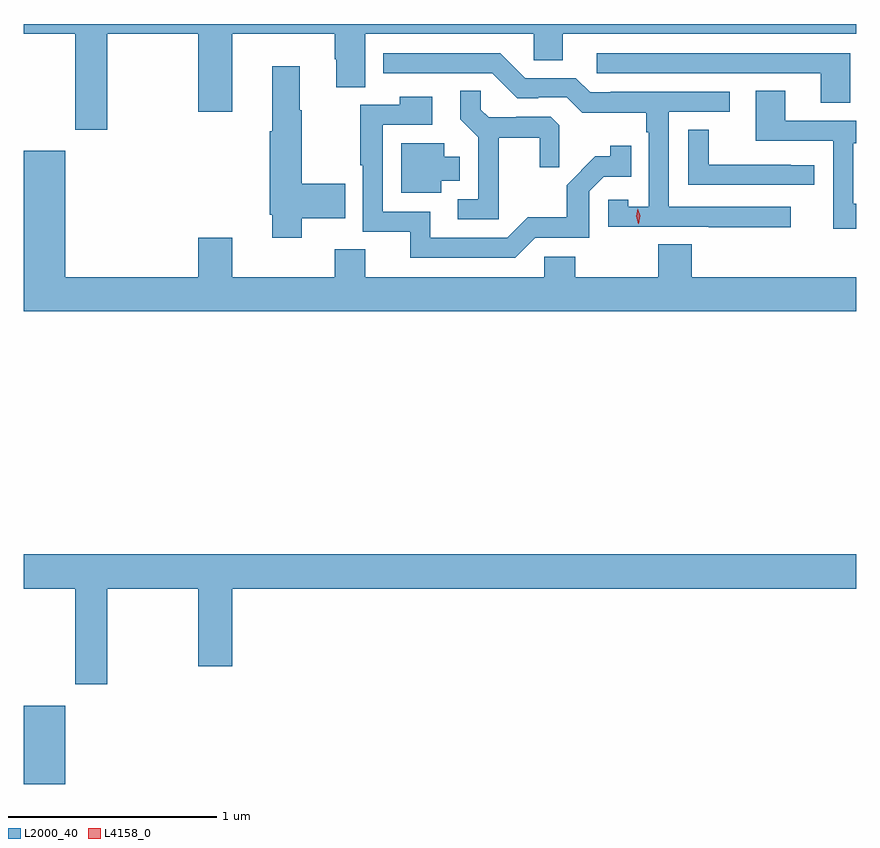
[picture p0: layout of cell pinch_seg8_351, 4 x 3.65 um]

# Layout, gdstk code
import gdstk
lib = gdstk.Library(unit=1e-6, precision=1e-09)
def R(c, l, rs):  # rectangles x0, y0, x1, y1
    for r in rs: c.add(gdstk.rectangle(r[:2], r[2:], *l))
def P(c, l, *ps):  # polygons
    for p in ps: c.add(gdstk.Polygon(p, *l))
L2000_40 = (2000, 40)
L4158_0 = (4158, 0)

pinch_seg8_351 = lib.new_cell('pinch_seg8_351')
R(pinch_seg8_351, L2000_40, [(367.965,1160.849,368.164,1161.226)])
P(pinch_seg8_351, L2000_40, [(368.367,1164.452),(368.804,1164.452),(368.804,1164.078),(368.968,1164.078),(368.968,1164.452),(369.46,1164.452),(369.46,1164.33),(369.467,1164.33),(369.467,1164.196),(369.607,1164.196),(369.607,1164.452),(370.416,1164.452),(370.416,1164.325),(370.555,1164.325),(370.555,1164.452),(371.965,1164.452),(371.965,1164.5),(367.965,1164.5),(367.965,1164.452),(368.212,1164.452),(368.212,1163.991),(368.367,1163.991)],
  [(371.935,1164.36),(370.719,1164.36),(370.719,1164.264),(371.795,1164.264),(371.795,1164.121),(371.935,1164.121)],
  [(371.65,1163.622),(371.064,1163.622),(371.064,1164.078),(371.356,1164.078),(371.356,1164.174),(370.786,1164.174),(370.786,1164.171),(370.686,1164.171),(370.617,1164.24),(370.374,1164.24),(370.254,1164.36),(369.692,1164.36),(369.692,1164.264),(370.215,1164.264),(370.335,1164.144),(370.436,1164.144),(370.436,1164.147),(370.575,1164.147),(370.648,1164.074),(370.956,1164.074),(370.956,1163.981),(370.968,1163.981),(370.968,1163.623),(370.869,1163.623),(370.869,1163.655),(370.773,1163.655),(370.773,1163.526),(371.257,1163.526),(371.257,1163.524),(371.65,1163.524)],
  [(369.3,1163.567),(369.509,1163.567),(369.509,1163.733),(369.3,1163.733),(369.3,1164.085),(369.292,1164.085),(369.292,1164.298),(369.158,1164.298),(369.158,1163.985),(369.146,1163.985),(369.146,1163.584),(369.158,1163.584),(369.158,1163.472),(369.3,1163.472)],
  [(371.965,1163.637),(371.95,1163.637),(371.95,1163.928),(371.965,1163.928),(371.965,1164.036),(371.623,1164.036),(371.623,1164.179),(371.483,1164.179),(371.483,1163.94),(371.853,1163.94),(371.853,1163.517),(371.965,1163.517)],
  [(370.247,1163.954),(370.444,1163.954),(370.444,1163.811),(370.538,1163.811),(370.538,1164.013),(370.497,1164.054),(370.332,1164.054),(370.332,1164.051),(370.198,1164.051),(370.161,1164.088),(370.161,1164.179),(370.063,1164.179),(370.063,1164.043),(370.149,1163.957),(370.149,1163.658),(370.05,1163.658),(370.05,1163.562),(370.247,1163.562)],
  [(370.422,1163.472),(370.683,1163.472),(370.683,1163.697),(370.752,1163.766),(370.883,1163.766),(370.883,1163.914),(370.782,1163.914),(370.782,1163.864),(370.712,1163.864),(370.575,1163.726),(370.575,1163.571),(370.386,1163.571),(370.287,1163.472),(369.919,1163.472),(369.919,1163.598),(369.69,1163.598),(369.69,1164.015),(369.928,1164.015),(369.928,1164.151),(369.772,1164.151),(369.772,1164.111),(369.582,1164.111),(369.582,1163.821),(369.594,1163.821),(369.594,1163.502),(369.821,1163.502),(369.821,1163.376),(370.326,1163.376)],
  [(371.764,1163.822),(371.651,1163.822),(371.651,1163.823),(371.256,1163.823),(371.256,1163.993),(371.157,1163.993),(371.157,1163.727),(371.764,1163.727)],
  [(369.97,1163.747),(370.06,1163.747),(370.06,1163.863),(369.985,1163.863),(369.985,1163.926),(369.779,1163.926),(369.779,1163.69),(369.97,1163.69)],
  [(369.46,1163.417),(369.46,1163.284),(368.968,1163.284),(368.968,1163.473),(368.804,1163.473),(368.804,1163.284),(368.164,1163.284),(368.164,1163.89),(367.965,1163.89),(367.965,1163.12),(371.965,1163.12),(371.965,1163.284),(371.174,1163.284),(371.174,1163.441),(371.014,1163.441),(371.014,1163.284),(370.614,1163.284),(370.614,1163.382),(370.467,1163.382),(370.467,1163.284),(369.607,1163.284),(369.607,1163.417)],
  [(368.367,1161.788),(368.804,1161.788),(368.804,1161.414),(368.968,1161.414),(368.968,1161.788),(371.965,1161.788),(371.965,1161.952),(367.965,1161.952),(367.965,1161.788),(368.212,1161.788),(368.212,1161.327),(368.367,1161.327)])
P(pinch_seg8_351, L4158_0, [(370.918,1163.541),(370.918,1163.541),(370.907,1163.577),(370.916,1163.613),(370.916,1163.613),(370.916,1163.613),(370.927,1163.578),(370.919,1163.541)])

lib.write_gds('pinch_seg8_351.gds')
